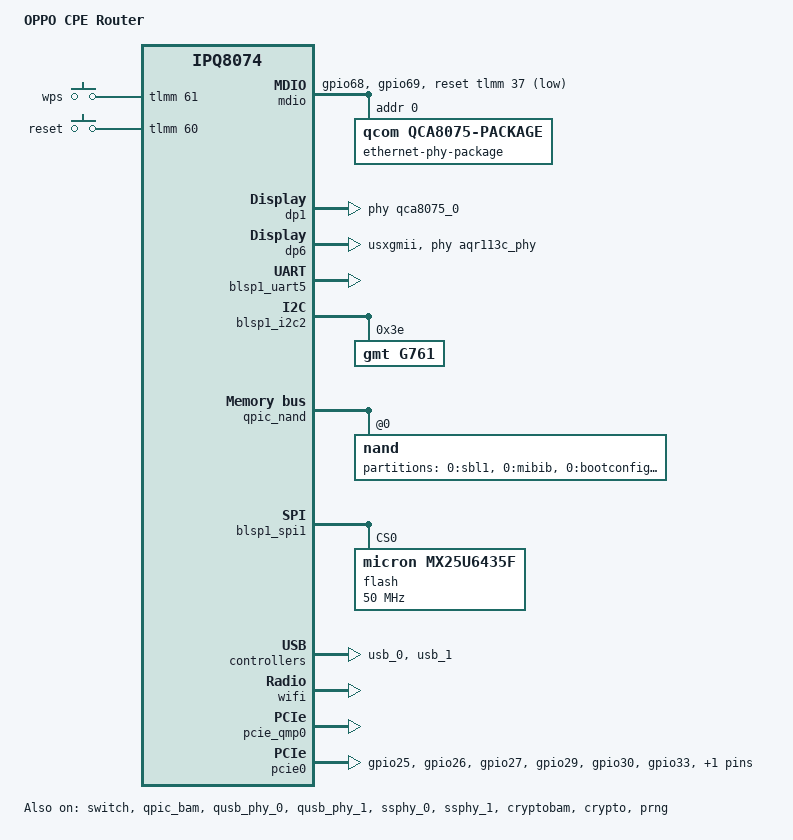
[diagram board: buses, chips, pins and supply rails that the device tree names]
// SPDX-License-Identifier: GPL-2.0-or-later OR MIT

/dts-v1/;

#include "ipq8074.dtsi"
#include "ipq8074-ess.dtsi"
#include "ipq8074-nss.dtsi"
#include "ipq8074-hk-cpu.dtsi"
#include <dt-bindings/input/input.h>
#include <dt-bindings/gpio/gpio.h>
#include <dt-bindings/leds/common.h>

/ {
	model = "OPPO CPE Router";
	compatible = "oppo,cpe", "qcom,ipq8074";

	aliases {
		serial0 = &blsp1_uart5;

		label-mac-device = &dp6;
	};

	chosen {
		stdout-path = "serial0:115200n8";
		bootargs-append = " coherent_pool=2M swiotlb=1";
	};

	keys {
		compatible = "gpio-keys";

		wps {
			label = "wps";
			gpios = <&tlmm 61 GPIO_ACTIVE_HIGH>;
			linux,code = <KEY_WPS_BUTTON>;
		};

		reset {
			label = "reset";
			gpios = <&tlmm 60 GPIO_ACTIVE_HIGH>;
			linux,code = <KEY_RESTART>;
		};
	};
};

&tlmm {
	pcie_sdx_gpio: pcie_sdx_gpio {

		mdm2ap_status {
			pins = "gpio25";
			function = "gpio";
			drive-strength = <8>;
			bias-pull-down;
		};

		ap2mdm_status {
			pins = "gpio26";
			function = "gpio";
			drive-strength = <8>;
			bias-pull-down;
		};

		ap2mdm_err_ftl {
			pins = "gpio27";
			function = "gpio";
			drive-strength = <8>;
			bias-pull-down;
		};

		ap2mdm_gp_rst_n {
			pins = "gpio29";
			function = "gpio";
			drive-strength = <8>;
			output-high;
		};

		sdx_pon_gpio {
			pins = "gpio30";
			function = "gpio";
			drive-strength = <8>;
			bias-pull-up;
			output-high;
		};

		mdm2ap_err_ftl {
			pins = "gpio33";
			function = "gpio";
			drive-strength = <8>;
			bias-pull-down;
		};
	};

	pcie0_wake_gpio: pcie0_wake_gpio {
		pins = "gpio59";
		function = "pcie0_wake";
		drive-strength = <8>;
		bias-pull-up;
	};

	mdio_pins: mdio-pins {
		mdc {
			pins = "gpio68";
			function = "mdc";
			drive-strength = <8>;
			bias-pull-up;
		};

		mdio {
			pins = "gpio69";
			function = "mdio";
			drive-strength = <8>;
			bias-pull-up;
		};
	};

	button_pins {
		reset_button {
			pins = "gpio60";
			function = "gpio";
			drive-strength = <8>;
			bias-pull-up;
		};

		wps_button {
			pins = "gpio61";
			function = "gpio";
			drive-strength = <8>;
			bias-pull-up;
		};
	};

};

&mdio {
	status = "okay";

	pinctrl-0 = <&mdio_pins>;
	pinctrl-names = "default";
	reset-gpios = <&tlmm 37 GPIO_ACTIVE_LOW>;

	ethernet-phy-package@0 {
		#address-cells = <1>;
		#size-cells = <0>;
		reg = <0>;

		compatible = "qcom,qca8075-package";

		qca8075_0: ethernet-phy@0 {
			compatible = "ethernet-phy-ieee802.3-c22";
			reg = <0>;
		};

		aqr113c_phy: ethernet-phy@5 {
			compatible = "ethernet-phy-ieee802.3-c45";
			reg = <7>;
			reset-deassert-us = <10000>;
			reset-gpios = <&tlmm 53 GPIO_ACTIVE_LOW>;
			firmware-name = "marvell/AQR113_0x7.cld";
			nvmem-cell-names = "firmware";
			nvmem-cells = <&aqr_fw>;
		};
	};

};

&switch {
	status = "okay";

	switch_lan_bmp = <ESS_PORT1>;
	switch_wan_bmp = <ESS_PORT6>;
	switch_mac_mode = <MAC_MODE_PSGMII>;
	switch_mac_mode1 = <MAC_MODE_DISABLED>;
	switch_mac_mode2 = <MAC_MODE_USXGMII>;

	qcom,port_phyinfo {
		port@1 {
			port_id = <1>;
			phy_address = <0>;
		};

		port@6 {
			port_id = <6>;
			phy_address = <7>;
			compatible = "ethernet-phy-ieee802.3-c45";
			ethernet-phy-ieee802.3-c45;
		};
	};
};

&edma {
	status = "okay";
};

&dp1 {
	status = "okay";
	phy-handle = <&qca8075_0>;
	label = "lan";
	nvmem-cells = <&macaddr_lan>;
	nvmem-cell-names = "mac-address";
};

&dp6 {
	status = "okay";
	qcom,mactype = <1>;
	phy-handle = <&aqr113c_phy>;
	label = "wan";
	phy-mode = "usxgmii";
	nvmem-cells = <&macaddr_wan>;
	nvmem-cell-names = "mac-address";
};

&blsp1_uart5 {
	status = "okay";
};

&blsp1_i2c2 {
	status = "okay";

	g761@3e {
		compatible = "gmt,g761";
		reg = <0x3e>;
		fan_gear_mode = <0>;
		fan_start = <1>;
		pwm_polarity = <0>;
	};
};

&qpic_bam {
	status = "okay";
};

&qpic_nand {
	status = "okay";

	nand@0 {
		#address-cells = <1>;
		#size-cells = <1>;
		reg = <0>;
		nand-ecc-strength = <4>;
		nand-ecc-step-size = <512>;
		nand-bus-width = <8>;

		partitions {
			compatible = "fixed-partitions";
			#address-cells = <1>;
			#size-cells = <1>;

			partition@0 {
				label = "0:sbl1";
				reg = <0x00 0x100000>;
				read-only;
			};

			partition@100000 {
				label = "0:mibib";
				reg = <0x100000 0x100000>;
				read-only;
			};

			partition@200000 {
				label = "0:bootconfig";
				reg = <0x200000 0x80000>;
				read-only;
			};

			partition@280000 {
				label = "0:bootconfig_1";
				reg = <0x280000 0x80000>;
				read-only;
			};

			partition@300000 {
				label = "0:qsee";
				reg = <0x300000 0x300000>;
				read-only;
			};

			partition@600000 {
				label = "0:qsee_1";
				reg = <0x600000 0x300000>;
				read-only;
			};

			partition@900000 {
				label = "0:devcfg";
				reg = <0x900000 0x80000>;
				read-only;
			};

			partition@980000 {
				label = "0:devcfg_1";
				reg = <0x980000 0x80000>;
				read-only;
			};

			partition@a00000 {
				label = "0:apdp";
				reg = <0xa00000 0x80000>;
				read-only;
			};

			partition@a80000 {
				label = "0:apdp_1";
				reg = <0xa80000 0x80000>;
				read-only;
			};

			partition@b00000 {
				label = "0:rpm";
				reg = <0xb00000 0x80000>;
				read-only;
			};

			partition@b80000 {
				label = "0:rpm_1";
				reg = <0xb80000 0x80000>;
				read-only;
			};

			partition@c00000 {
				label = "0:cdt";
				reg = <0xc00000 0x80000>;
				read-only;
			};

			partition@c80000 {
				label = "0:cdt_1";
				reg = <0xc80000 0x80000>;
				read-only;
			};

			partition@d00000 {
				label = "0:appsblenv";
				reg = <0xd00000 0x80000>;
			};

			partition@d80000 {
				label = "0:appsbl";
				reg = <0xd80000 0x100000>;
				read-only;
			};

			partition@e80000 {
				label = "0:appsbl_1";
				reg = <0xe80000 0x100000>;
				read-only;
			};

			partition@f80000 {
				label = "0:art";
				reg = <0xf80000 0x80000>;
				read-only;
			};

			partition@1000000 {
				label = "rootfs";
				reg = <0x1000000 0x1ae00000>;
			};

			partition@1be00000 {
				label = "0:wififw";
				reg = <0x1be00000 0x900000>;
			};

			partition@1c700000 {
				label = "rootfs_1";
				reg = <0x1c700000 0x1ae00000>;
			};

			partition@37500000 {
				label = "0:wififw_1";
				reg = <0x37500000 0x900000>;
			};

			partition@37e00000 {
				label = "0:ethphyfw";
				reg = <0x37e00000 0x80000>;

				nvmem-layout {
					compatible = "fixed-layout";
					#address-cells = <1>;
					#size-cells = <1>;

					macaddr_lan: macaddr@0 {
						reg = <0x0 0x6>;
					};

					macaddr_wan: macaddr@1 {
						reg = <0x6 0x6>;
					};

					aqr_fw: firmware@24 {
						reg = <0x24 0x49802>;
					};
				};
			};

			partition@37e80000 {
				label = "0:reserved";
				reg = <0x37e80000 0x500000>;
			};

			partition@38380000 {
				label = "0:factory";
				reg = <0x38380000 0xfe0000>;
			};

			partition@39360000 {
				label = "0:oppo_data";
				reg = <0x39360000 0x6500000>;
			};
		};
	};
};

&blsp1_spi1 {
	pinctrl-0 = <&spi_0_pins>;
	pinctrl-names = "default";
	status = "okay";

	flash@0 {
		#address-cells = <1>;
		#size-cells = <1>;
		reg = <0>;
		linux,modalias = "m25p80", "mx25u6435f", "mx30uf2g18ac", "n25q128a11";
		compatible = "micron, mx25u6435f", "jedec,spi-nor";
		spi-max-frequency = <50000000>;
		use-default-sizes;
	};
};

&qusb_phy_0 {
	status = "okay";
};

&qusb_phy_1 {
	status = "okay";
};

&ssphy_0 {
	status = "okay";
};

&ssphy_1 {
	status = "okay";
};

&usb_0 {
	status = "okay";
};

&usb_1 {
	status = "okay";
};

&wifi{
	status = "okay";

	qcom,ath11k-calibration-variant = "OPPO-CPE";
};

&pcie_qmp0 {
	status = "okay";
};

&pcie0 {
	status = "okay";
	perst-gpios = <&tlmm 58 GPIO_ACTIVE_LOW>;
	pinctrl-0 = <&pcie_sdx_gpio &pcie0_wake_gpio>;
	pinctrl-names = "default";
};

&blsp1_i2c2 {
	status = "okay";
};

&cryptobam {
	status = "okay";
};

&crypto {
	status = "okay";
};

&prng {
	status = "okay";
};
